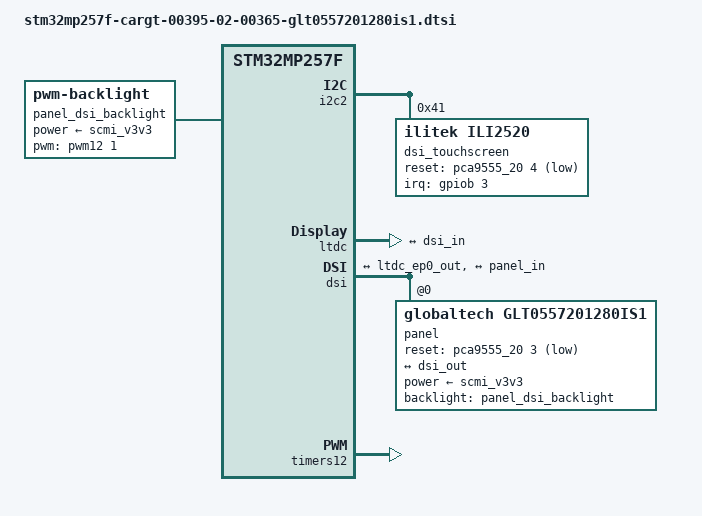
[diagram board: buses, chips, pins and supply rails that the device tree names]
/ {
	panel_dsi_backlight: panel-dsi-backlight {
		compatible = "pwm-backlight";
		pwms = <&pwm12 1 1000000 0>;
		brightness-levels = <0 100>;
		num-interpolated-steps = <100>;
		default-brightness-level = <80>;
		power-supply = <&scmi_v3v3>;
		status = "okay";
	};

/*
	panel_dsi_backlight: panel-dsi-backlight {
		compatible = "gpio-backlight";
		gpios = <&gpiof 8 GPIO_ACTIVE_HIGH>;
		default-on;
		default-brightness-level = <1>;
		status = "okay";
	};
*/
};

&i2c2 {
	dsi_touchscreen@41 {
		compatible = "ilitek,ili2520";
		reg = <0x41>;
		pinctrl-0 = <&pinctrl_dsi_touchscreen>;
		reset-gpios = <&pca9555_20 4 GPIO_ACTIVE_LOW>;
		interrupt-parent = <&gpiob>;
		interrupts = <3 IRQ_TYPE_LEVEL_LOW>;
		touchscreen-swapped-x-y;
		touchscreen-inverted-x;
		wakeup-source;
	};
};

&ltdc {
	default-on;
	rotation-memory = <&ltdc_sec_rotation>;
	status = "okay";

	port {
		#address-cells = <1>;
		#size-cells = <0>;

		ltdc_ep0_out: endpoint@0 {
			reg = <0>;
			remote-endpoint = <&dsi_in>;
		};
	};
};

&dsi {
	vdd-supply =  <&scmi_vddcore>;
	vdda18-supply = <&scmi_v1v8>;
	status = "okay";

	#address-cells = <1>;
	#size-cells = <0>;

	ports {
		#address-cells = <1>;
		#size-cells = <0>;

		port@0 {
			reg = <0>;
			dsi_in: endpoint {
				remote-endpoint = <&ltdc_ep0_out>;
			};
		};

		port@1 {
			reg = <1>;
			dsi_out: endpoint {
				data-lanes = <1 2 3 4>;
				remote-endpoint = <&panel_in>;
			};
		};
	};

	panel@0 {
		compatible = "globaltech,glt0557201280is1", "ilitek,ili9881c";
		reg = <0>;
/*		rotation = <90>; */
		reset-gpios = <&pca9555_20 3 GPIO_ACTIVE_LOW>;
		backlight = <&panel_dsi_backlight>;
		power-supply = <&scmi_v3v3>;
		status = "okay";

		port {
			panel_in: endpoint {
				data-lanes = <1 2 3 4>;
				remote-endpoint = <&dsi_out>;
			};
		};
	};
};

&lvds {
	status = "disabled";
};

&timers12 {
	/delete-property/pinctrl-names;
	/delete-property/pinctrl-0;
	/delete-property/pinctrl-1;
	/delete-property/dmas;
	/delete-property/dma-names;	
	status = "okay";

	pwm12: pwm {
		pinctrl-names = "default", "sleep";
		pinctrl-0 = <&tim12_pwm_pins_mx>;
		pinctrl-1 = <&tim12_pwm_sleep_pins_mx>;
		status = "okay";
	};		
};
